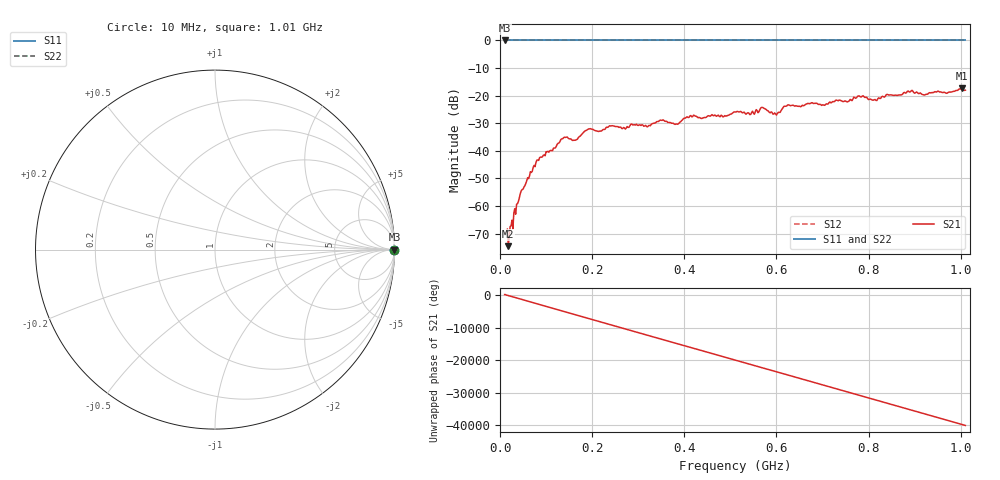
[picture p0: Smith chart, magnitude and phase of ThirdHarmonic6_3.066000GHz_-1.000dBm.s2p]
! 8/17/2025 8:57:00 AM
! C:\ANRITSUVNA\TEMP\TEMP.S2P
! CHANNEL.1
! TR.MEASUREMENT
! RAW.DATA
! RF.CORRECTION.OFF
! AVERAGING.OFF
! IF.BANDWIDTH: 5KHZ
! SWEEPTYPE:  FREQ.SWEEP(Linear)
! Reference Plane Port Info
! PORT:  PORT1  PORT2
! DISTANCE:  0  m  0  m
! TIME:  0  s  0  s
! PHASE.OFFSET:  0  deg.  0  deg.
! LOSS:  0  dB  0  dB
! REF.LOSS:  0  dB  0  dB
! REF.FREQ:  0  Hz  0  Hz
! Power Info
! POWER:  -20  dBm  -20  dBm
! EFF.POWER:  -20  dBm  -20  dBm
! SOURCE.ATTEN:  0  dB  0  dB
! TEST.ATTEN:  0  dB  0  dB
# GHZ S RI R 50.0
! FREQ.GHZ  S11RE  S11IM  S21RE  S21IM  S12RE  S12IM  S22RE  S22IM
!; PortSelection: Port_12
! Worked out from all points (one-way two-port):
!   501 points, 10 MHz to 1.01 GHz, reference 50 ohm
!   highest |S21| = -17.28 dB at 1.002 GHz (marker M1); lowest = -74.5 dB at 18 MHz (marker M2)
!   lowest |S11| = 0.0 dB at 10 MHz (marker M3)
!   |S11| at or under -10 dB: nowhere
!   |S22| runs from 0.0 to 0.0 dB; largest |S21 - S12| = 1.1
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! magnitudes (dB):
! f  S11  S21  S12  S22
! 10 MHz  0.0  -69.8  0.0  0.0
! 18 MHz  0.0  -74.5  0.0  0.0
! 46 MHz  0.0  -54.5  0.0  0.0
! 82 MHz  0.0  -43.3  0.0  0.0
! 136 MHz  0.0  -35.6  0.0  0.0
! 162 MHz  0.0  -36.2  0.0  0.0
! 178 MHz  0.0  -33.8  0.0  0.0
! 194 MHz  0.0  -32.0  0.0  0.0
! 344 MHz  0.0  -29.3  0.0  0.0
! 382 MHz  0.0  -30.3  0.0  0.0
! 416 MHz  0.0  -27.7  0.0  0.0
! 510 MHz  0.0  -25.9  0.0  0.0
! 548 MHz  0.0  -25.6  0.0  0.0
! 570 MHz  0.0  -24.3  0.0  0.0
! 596 MHz  0.0  -26.3  0.0  0.0
! 622 MHz  0.0  -23.7  0.0  0.0
! 678 MHz  0.0  -22.6  0.0  0.0
! 780 MHz  0.0  -20.1  0.0  0.0
! 814 MHz  0.0  -21.4  0.0  0.0
! 844 MHz  0.0  -19.8  0.0  0.0
! 1.002 GHz  0.0  -17.3  0.0  0.0
! 1.01 GHz  0.0  -18.0  0.0  0.0
